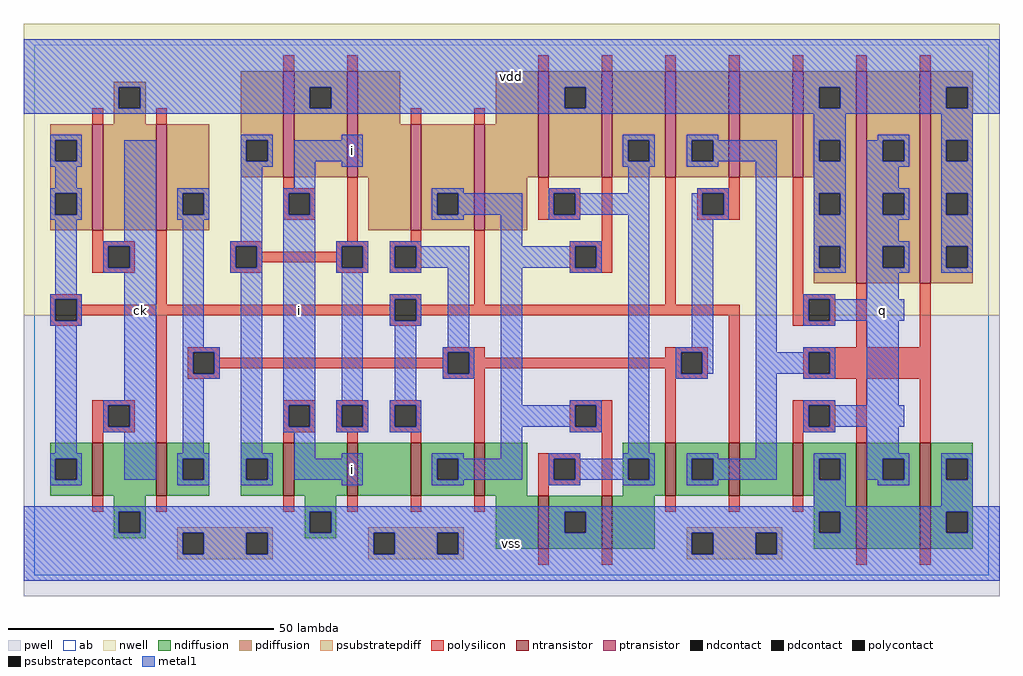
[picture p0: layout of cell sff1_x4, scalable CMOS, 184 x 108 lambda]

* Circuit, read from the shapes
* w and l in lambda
.subckt sff1_x4 ck i q vdd vss
M1 vss ck n1 vss nfet w=10 l=2
M2 n2 n1 vss vss nfet w=10 l=2
M3 vss i n3 vss nfet w=10 l=2
M4 n4 n3 vss vss nfet w=10 l=2
M5 n5 n1 n4 vss nfet w=10 l=2
M6 n6 n2 n5 vss nfet w=10 l=2
M7 vss n7 n6 vss nfet w=10 l=2
M8 n7 n5 vss vss nfet w=10 l=2
M9 n8 n2 n7 vss nfet w=10 l=2
M10 n9 n1 n8 vss nfet w=10 l=2
M11 vss q n9 vss nfet w=10 l=2
M12 q n8 vss vss nfet w=20 l=2 m=2
M13 vdd ck n1 n10 pfet w=20 l=2
M14 n2 n1 vdd n10 pfet w=20 l=2
M15 vdd i n3 n10 pfet w=20 l=2
M16 n11 n3 vdd n10 pfet w=20 l=2
M17 n5 n2 n11 n10 pfet w=20 l=2
M18 n12 n1 n5 n10 pfet w=20 l=2
M19 vdd n7 n12 n10 pfet w=20 l=2
M20 n7 n5 vdd n10 pfet w=20 l=2
M21 n8 n1 n7 n10 pfet w=20 l=2
M22 n13 n2 n8 n10 pfet w=20 l=2
M23 vdd q n13 n10 pfet w=20 l=2
M24 q n8 vdd n10 pfet w=40 l=2 m=2
.ends

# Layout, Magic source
magic
tech scmos
<< ab >>
rect 0 0 180 100
<< pwell >>
rect -2 -4 182 49
<< nwell >>
rect -2 49 182 104
<< polysilicon >>
rect 47 95 49 98
rect 59 95 61 98
rect 95 95 97 98
rect 107 95 109 98
rect 119 95 121 98
rect 131 95 133 98
rect 143 95 145 98
rect 155 95 157 98
rect 167 95 169 98
rect 11 85 13 88
rect 23 85 25 88
rect 71 85 73 88
rect 83 85 85 88
rect 47 73 49 75
rect 47 72 53 73
rect 47 68 48 72
rect 52 68 53 72
rect 47 67 53 68
rect 11 63 13 65
rect 11 62 19 63
rect 11 58 14 62
rect 18 58 19 62
rect 11 57 19 58
rect 3 52 9 53
rect 3 48 4 52
rect 8 51 9 52
rect 23 51 25 65
rect 59 63 61 75
rect 95 73 97 75
rect 95 72 103 73
rect 95 68 98 72
rect 102 68 103 72
rect 95 67 103 68
rect 71 63 73 65
rect 37 62 43 63
rect 37 58 38 62
rect 42 61 43 62
rect 57 62 63 63
rect 57 61 58 62
rect 42 59 58 61
rect 42 58 43 59
rect 37 57 43 58
rect 57 58 58 59
rect 62 58 63 62
rect 57 57 63 58
rect 67 62 73 63
rect 67 58 68 62
rect 72 58 73 62
rect 67 57 73 58
rect 67 52 73 53
rect 67 51 68 52
rect 8 49 68 51
rect 8 48 9 49
rect 3 47 9 48
rect 11 32 19 33
rect 11 28 14 32
rect 18 28 19 32
rect 11 27 19 28
rect 11 25 13 27
rect 23 25 25 49
rect 67 48 68 49
rect 72 51 73 52
rect 83 51 85 65
rect 107 63 109 75
rect 101 62 109 63
rect 101 58 102 62
rect 106 58 109 62
rect 101 57 109 58
rect 119 51 121 75
rect 131 73 133 75
rect 125 72 133 73
rect 125 68 126 72
rect 130 68 133 72
rect 125 67 133 68
rect 143 53 145 75
rect 143 52 151 53
rect 72 49 133 51
rect 72 48 73 49
rect 67 47 73 48
rect 29 42 35 43
rect 29 38 30 42
rect 34 41 35 42
rect 77 42 85 43
rect 77 41 78 42
rect 34 39 78 41
rect 34 38 35 39
rect 29 37 35 38
rect 77 38 78 39
rect 82 41 85 42
rect 119 42 127 43
rect 119 41 122 42
rect 82 39 122 41
rect 82 38 85 39
rect 77 37 85 38
rect 47 32 53 33
rect 47 28 48 32
rect 52 28 53 32
rect 47 27 53 28
rect 57 32 63 33
rect 57 28 58 32
rect 62 28 63 32
rect 57 27 63 28
rect 67 32 73 33
rect 67 28 68 32
rect 72 28 73 32
rect 67 27 73 28
rect 47 25 49 27
rect 59 25 61 27
rect 71 25 73 27
rect 83 25 85 37
rect 119 38 122 39
rect 126 38 127 42
rect 119 37 127 38
rect 101 32 109 33
rect 101 28 102 32
rect 106 28 109 32
rect 101 27 109 28
rect 95 22 103 23
rect 95 18 98 22
rect 102 18 103 22
rect 95 17 103 18
rect 95 15 97 17
rect 107 15 109 27
rect 119 25 121 37
rect 131 25 133 49
rect 143 48 146 52
rect 150 48 151 52
rect 143 47 151 48
rect 155 43 157 55
rect 167 43 169 55
rect 145 42 169 43
rect 145 38 146 42
rect 150 38 169 42
rect 145 37 169 38
rect 143 32 151 33
rect 143 28 146 32
rect 150 28 151 32
rect 143 27 151 28
rect 143 25 145 27
rect 155 25 157 37
rect 167 25 169 37
rect 11 12 13 15
rect 23 12 25 15
rect 47 12 49 15
rect 59 12 61 15
rect 71 12 73 15
rect 83 12 85 15
rect 119 12 121 15
rect 131 12 133 15
rect 143 12 145 15
rect 95 2 97 5
rect 107 2 109 5
rect 155 2 157 5
rect 167 2 169 5
<< ndiffusion >>
rect 3 22 11 25
rect 3 18 4 22
rect 8 18 11 22
rect 3 15 11 18
rect 13 15 23 25
rect 25 22 33 25
rect 25 18 28 22
rect 32 18 33 22
rect 25 15 33 18
rect 39 22 47 25
rect 39 18 40 22
rect 44 18 47 22
rect 39 15 47 18
rect 49 15 59 25
rect 61 15 71 25
rect 73 22 83 25
rect 73 18 76 22
rect 80 18 83 22
rect 73 15 83 18
rect 85 15 93 25
rect 111 22 119 25
rect 111 18 112 22
rect 116 18 119 22
rect 111 15 119 18
rect 121 22 131 25
rect 121 18 124 22
rect 128 18 131 22
rect 121 15 131 18
rect 133 15 143 25
rect 145 22 155 25
rect 145 18 148 22
rect 152 18 155 22
rect 145 15 155 18
rect 15 12 21 15
rect 51 12 57 15
rect 15 8 16 12
rect 20 8 21 12
rect 15 7 21 8
rect 51 8 52 12
rect 56 8 57 12
rect 51 7 57 8
rect 87 5 95 15
rect 97 12 107 15
rect 97 8 100 12
rect 104 8 107 12
rect 97 5 107 8
rect 109 5 117 15
rect 147 12 155 15
rect 147 8 148 12
rect 152 8 155 12
rect 147 5 155 8
rect 157 22 167 25
rect 157 18 160 22
rect 164 18 167 22
rect 157 5 167 18
rect 169 22 177 25
rect 169 18 172 22
rect 176 18 177 22
rect 169 12 177 18
rect 169 8 172 12
rect 176 8 177 12
rect 169 5 177 8
<< pdiffusion >>
rect 15 92 21 93
rect 15 88 16 92
rect 20 88 21 92
rect 15 85 21 88
rect 3 82 11 85
rect 3 78 4 82
rect 8 78 11 82
rect 3 72 11 78
rect 3 68 4 72
rect 8 68 11 72
rect 3 65 11 68
rect 13 65 23 85
rect 25 72 33 85
rect 39 82 47 95
rect 39 78 40 82
rect 44 78 47 82
rect 39 75 47 78
rect 49 92 59 95
rect 49 88 52 92
rect 56 88 59 92
rect 49 75 59 88
rect 61 85 69 95
rect 87 85 95 95
rect 61 75 71 85
rect 25 68 28 72
rect 32 68 33 72
rect 25 65 33 68
rect 63 65 71 75
rect 73 72 83 85
rect 73 68 76 72
rect 80 68 83 72
rect 73 65 83 68
rect 85 75 95 85
rect 97 92 107 95
rect 97 88 100 92
rect 104 88 107 92
rect 97 75 107 88
rect 109 82 119 95
rect 109 78 112 82
rect 116 78 119 82
rect 109 75 119 78
rect 121 82 131 95
rect 121 78 124 82
rect 128 78 131 82
rect 121 75 131 78
rect 133 75 143 95
rect 145 92 155 95
rect 145 88 148 92
rect 152 88 155 92
rect 145 82 155 88
rect 145 78 148 82
rect 152 78 155 82
rect 145 75 155 78
rect 85 65 93 75
rect 147 72 155 75
rect 147 68 148 72
rect 152 68 155 72
rect 147 62 155 68
rect 147 58 148 62
rect 152 58 155 62
rect 147 55 155 58
rect 157 82 167 95
rect 157 78 160 82
rect 164 78 167 82
rect 157 72 167 78
rect 157 68 160 72
rect 164 68 167 72
rect 157 62 167 68
rect 157 58 160 62
rect 164 58 167 62
rect 157 55 167 58
rect 169 92 177 95
rect 169 88 172 92
rect 176 88 177 92
rect 169 82 177 88
rect 169 78 172 82
rect 176 78 177 82
rect 169 72 177 78
rect 169 68 172 72
rect 176 68 177 72
rect 169 62 177 68
rect 169 58 172 62
rect 176 58 177 62
rect 169 55 177 58
<< metal1 >>
rect -2 92 182 101
rect -2 88 16 92
rect 20 88 52 92
rect 56 88 100 92
rect 104 88 148 92
rect 152 88 172 92
rect 176 88 182 92
rect -2 87 182 88
rect 3 82 9 83
rect 39 82 45 83
rect 58 82 62 83
rect 3 78 4 82
rect 8 78 9 82
rect 3 77 9 78
rect 4 73 8 77
rect 3 72 9 73
rect 3 68 4 72
rect 8 68 9 72
rect 3 67 9 68
rect 4 53 8 67
rect 17 63 23 82
rect 39 78 40 82
rect 44 78 45 82
rect 39 77 45 78
rect 49 78 62 82
rect 27 72 33 73
rect 27 68 28 72
rect 32 68 33 72
rect 27 67 33 68
rect 13 62 23 63
rect 13 58 14 62
rect 18 58 23 62
rect 13 57 23 58
rect 3 52 9 53
rect 3 48 4 52
rect 8 48 9 52
rect 3 47 9 48
rect 4 23 8 47
rect 17 33 23 57
rect 13 32 23 33
rect 13 28 14 32
rect 18 28 23 32
rect 13 27 23 28
rect 3 22 9 23
rect 3 18 4 22
rect 8 18 9 22
rect 17 18 23 27
rect 28 43 32 67
rect 39 63 43 77
rect 49 73 53 78
rect 58 77 62 78
rect 111 82 117 83
rect 111 78 112 82
rect 116 78 117 82
rect 111 77 117 78
rect 123 82 129 83
rect 147 82 153 87
rect 159 82 165 83
rect 123 78 124 82
rect 128 78 140 82
rect 123 77 129 78
rect 37 62 43 63
rect 37 58 38 62
rect 42 58 43 62
rect 37 57 43 58
rect 28 42 35 43
rect 28 38 30 42
rect 34 38 35 42
rect 28 37 35 38
rect 28 23 32 37
rect 39 23 43 57
rect 47 72 53 73
rect 47 68 48 72
rect 52 68 53 72
rect 47 32 53 68
rect 75 72 81 73
rect 97 72 103 73
rect 112 72 116 77
rect 125 72 131 73
rect 75 68 76 72
rect 80 68 92 72
rect 75 67 81 68
rect 57 62 63 63
rect 57 58 58 62
rect 62 58 63 62
rect 57 57 63 58
rect 67 62 73 63
rect 88 62 92 68
rect 97 68 98 72
rect 102 68 116 72
rect 97 67 103 68
rect 101 62 107 63
rect 67 58 68 62
rect 72 58 82 62
rect 67 57 73 58
rect 58 33 62 57
rect 67 52 73 53
rect 67 48 68 52
rect 72 48 73 52
rect 67 47 73 48
rect 68 33 72 47
rect 78 43 82 58
rect 88 58 102 62
rect 106 58 107 62
rect 77 42 83 43
rect 77 38 78 42
rect 82 38 83 42
rect 77 37 83 38
rect 47 28 48 32
rect 52 28 53 32
rect 47 27 53 28
rect 57 32 63 33
rect 57 28 58 32
rect 62 28 63 32
rect 57 27 63 28
rect 67 32 73 33
rect 67 28 68 32
rect 72 28 73 32
rect 67 27 73 28
rect 88 32 92 58
rect 101 57 107 58
rect 101 32 107 33
rect 88 28 102 32
rect 106 28 107 32
rect 27 22 33 23
rect 27 18 28 22
rect 32 18 33 22
rect 3 17 9 18
rect 27 17 33 18
rect 39 22 45 23
rect 39 18 40 22
rect 44 18 45 22
rect 49 22 53 27
rect 58 22 62 23
rect 49 18 62 22
rect 39 17 45 18
rect 58 17 62 18
rect 75 22 81 23
rect 88 22 92 28
rect 101 27 107 28
rect 112 23 116 68
rect 124 68 126 72
rect 130 68 131 72
rect 124 67 131 68
rect 124 43 128 67
rect 121 42 128 43
rect 121 38 122 42
rect 126 38 128 42
rect 136 42 140 78
rect 147 78 148 82
rect 152 78 153 82
rect 147 72 153 78
rect 147 68 148 72
rect 152 68 153 72
rect 147 62 153 68
rect 147 58 148 62
rect 152 58 153 62
rect 147 57 153 58
rect 157 78 160 82
rect 164 78 165 82
rect 157 77 165 78
rect 171 82 177 87
rect 171 78 172 82
rect 176 78 177 82
rect 157 73 163 77
rect 157 72 165 73
rect 157 68 160 72
rect 164 68 165 72
rect 157 67 165 68
rect 171 72 177 78
rect 171 68 172 72
rect 176 68 177 72
rect 157 63 163 67
rect 157 62 165 63
rect 157 58 160 62
rect 164 58 165 62
rect 157 57 165 58
rect 171 62 177 68
rect 171 58 172 62
rect 176 58 177 62
rect 171 57 177 58
rect 145 52 151 53
rect 157 52 163 57
rect 145 48 146 52
rect 150 48 164 52
rect 145 47 151 48
rect 145 42 151 43
rect 136 38 146 42
rect 150 38 151 42
rect 121 37 127 38
rect 75 18 76 22
rect 80 18 92 22
rect 97 22 103 23
rect 111 22 117 23
rect 97 18 98 22
rect 102 18 112 22
rect 116 18 117 22
rect 75 17 81 18
rect 97 17 103 18
rect 111 17 117 18
rect 123 22 129 23
rect 136 22 140 38
rect 145 37 151 38
rect 145 32 151 33
rect 157 32 163 48
rect 145 28 146 32
rect 150 28 164 32
rect 145 27 151 28
rect 157 23 163 28
rect 123 18 124 22
rect 128 18 140 22
rect 147 22 153 23
rect 147 18 148 22
rect 152 18 153 22
rect 157 22 165 23
rect 157 18 160 22
rect 164 18 165 22
rect 123 17 129 18
rect 147 13 153 18
rect 159 17 165 18
rect 171 22 177 23
rect 171 18 172 22
rect 176 18 177 22
rect 171 13 177 18
rect -2 12 182 13
rect -2 8 16 12
rect 20 8 52 12
rect 56 8 100 12
rect 104 8 148 12
rect 152 8 172 12
rect 176 8 182 12
rect -2 4 28 8
rect 32 4 40 8
rect 44 4 64 8
rect 68 4 76 8
rect 80 4 124 8
rect 128 4 136 8
rect 140 4 182 8
rect -2 -1 182 4
<< ntransistor >>
rect 11 15 13 25
rect 23 15 25 25
rect 47 15 49 25
rect 59 15 61 25
rect 71 15 73 25
rect 83 15 85 25
rect 119 15 121 25
rect 131 15 133 25
rect 143 15 145 25
rect 95 5 97 15
rect 107 5 109 15
rect 155 5 157 25
rect 167 5 169 25
<< ptransistor >>
rect 11 65 13 85
rect 23 65 25 85
rect 47 75 49 95
rect 59 75 61 95
rect 71 65 73 85
rect 83 65 85 85
rect 95 75 97 95
rect 107 75 109 95
rect 119 75 121 95
rect 131 75 133 95
rect 143 75 145 95
rect 155 55 157 95
rect 167 55 169 95
<< polycontact >>
rect 48 68 52 72
rect 14 58 18 62
rect 4 48 8 52
rect 98 68 102 72
rect 38 58 42 62
rect 58 58 62 62
rect 68 58 72 62
rect 14 28 18 32
rect 68 48 72 52
rect 102 58 106 62
rect 126 68 130 72
rect 30 38 34 42
rect 78 38 82 42
rect 48 28 52 32
rect 58 28 62 32
rect 68 28 72 32
rect 122 38 126 42
rect 102 28 106 32
rect 98 18 102 22
rect 146 48 150 52
rect 146 38 150 42
rect 146 28 150 32
<< ndcontact >>
rect 4 18 8 22
rect 28 18 32 22
rect 40 18 44 22
rect 76 18 80 22
rect 112 18 116 22
rect 124 18 128 22
rect 148 18 152 22
rect 16 8 20 12
rect 52 8 56 12
rect 100 8 104 12
rect 148 8 152 12
rect 160 18 164 22
rect 172 18 176 22
rect 172 8 176 12
<< pdcontact >>
rect 16 88 20 92
rect 4 78 8 82
rect 4 68 8 72
rect 40 78 44 82
rect 52 88 56 92
rect 28 68 32 72
rect 76 68 80 72
rect 100 88 104 92
rect 112 78 116 82
rect 124 78 128 82
rect 148 88 152 92
rect 148 78 152 82
rect 148 68 152 72
rect 148 58 152 62
rect 160 78 164 82
rect 160 68 164 72
rect 160 58 164 62
rect 172 88 176 92
rect 172 78 176 82
rect 172 68 176 72
rect 172 58 176 62
<< psubstratepcontact >>
rect 28 4 32 8
rect 40 4 44 8
rect 64 4 68 8
rect 76 4 80 8
rect 124 4 128 8
rect 136 4 140 8
<< psubstratepdiff >>
rect 27 8 45 9
rect 27 4 28 8
rect 32 4 40 8
rect 44 4 45 8
rect 63 8 81 9
rect 27 3 45 4
rect 63 4 64 8
rect 68 4 76 8
rect 80 4 81 8
rect 123 8 141 9
rect 63 3 81 4
rect 123 4 124 8
rect 128 4 136 8
rect 140 4 141 8
rect 123 3 141 4
<< labels >>
rlabel metal1 20 50 20 50 6 ck
rlabel metal1 20 50 20 50 6 ck
rlabel metal1 60 20 60 20 6 i
rlabel metal1 60 20 60 20 6 i
rlabel metal1 50 50 50 50 6 i
rlabel metal1 50 50 50 50 6 i
rlabel metal1 60 80 60 80 6 i
rlabel metal1 60 80 60 80 6 i
rlabel metal1 90 6 90 6 6 vss
rlabel metal1 90 6 90 6 6 vss
rlabel metal1 90 94 90 94 6 vdd
rlabel metal1 90 94 90 94 6 vdd
rlabel metal1 160 50 160 50 6 q
rlabel metal1 160 50 160 50 6 q
<< end >>
